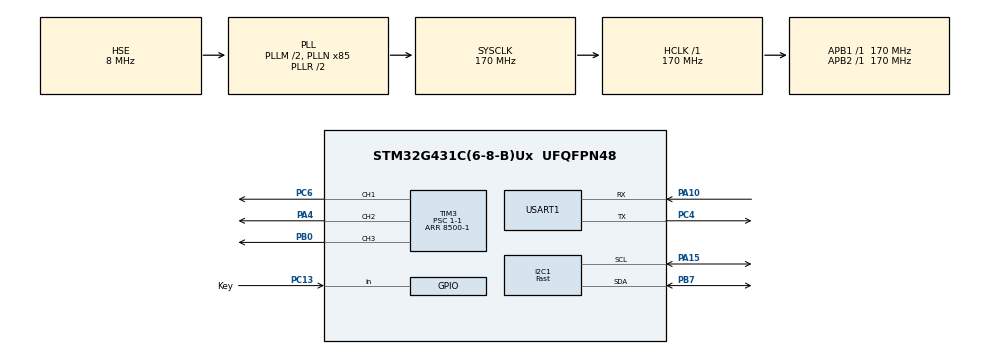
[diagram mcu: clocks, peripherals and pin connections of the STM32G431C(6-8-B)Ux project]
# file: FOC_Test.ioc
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Dma.Request0=USART1_TX
Dma.USART1_TX.0.Direction=DMA_MEMORY_TO_PERIPH
Dma.USART1_TX.0.EventEnable=DISABLE
Dma.USART1_TX.0.Instance=DMA1_Channel1
Dma.USART1_TX.0.MemDataAlignment=DMA_MDATAALIGN_BYTE
Dma.USART1_TX.0.MemInc=DMA_MINC_ENABLE
Dma.USART1_TX.0.Mode=DMA_NORMAL
Dma.USART1_TX.0.PeriphDataAlignment=DMA_PDATAALIGN_BYTE
Dma.USART1_TX.0.PeriphInc=DMA_PINC_DISABLE
Dma.USART1_TX.0.Polarity=HAL_DMAMUX_REQ_GEN_RISING
Dma.USART1_TX.0.Priority=DMA_PRIORITY_LOW
Dma.USART1_TX.0.RequestNumber=1
Dma.USART1_TX.0.SignalID=NONE
Dma.USART1_TX.0.SyncEnable=DISABLE
Dma.USART1_TX.0.SyncPolarity=HAL_DMAMUX_SYNC_NO_EVENT
Dma.USART1_TX.0.SyncRequestNumber=1
Dma.USART1_TX.0.SyncSignalID=NONE
FREERTOS.Queues01=LEDQueue,16,LEDMesg *,0,Dynamic,NULL,NULL;CommandQueue,32,uint8_t,0,Dynamic,NULL,NULL
FREERTOS.Tasks01=defaultTask,24,128,StartDefaultTask,Default,NULL,Dynamic,NULL,NULL;KeyTask,24,128,StartKeyTask,As external,NULL,Dynamic,NULL,NULL;LEDTask,24,128,StartLEDTask,As external,NULL,Dynamic,NULL,NULL;CommandTasks,32,128,CommandStartTask,As external,NULL,Dynamic,NULL,NULL;FOCTask,24,128,FOCStartTask,As external,NULL,Dynamic,NULL,NULL
FREERTOS.configENABLE_FPU=1
FREERTOS.configTOTAL_HEAP_SIZE=4096
I2C1.I2C_Speed_Mode=I2C_Fast
I2C1.Timing=0x40621236
Mcu.Family=STM32G4
Mcu.Name=STM32G431C(6-8-B)Ux
Mcu.Package=UFQFPN48
NVIC.DMA1_Channel1_IRQn=true\:5\:0\:false\:false\:true\:true\:false\:true\:true
NVIC.PriorityGroup=NVIC_PRIORITYGROUP_4
NVIC.TIM1_UP_TIM16_IRQn=true\:15\:0\:false\:false\:true\:false\:false\:true\:true
NVIC.TIM3_IRQn=true\:5\:0\:false\:false\:true\:true\:true\:true\:true
NVIC.TimeBase=TIM1_UP_TIM16_IRQn
NVIC.TimeBaseIP=TIM16
NVIC.USART1_IRQn=true\:5\:0\:false\:false\:true\:true\:true\:true\:true
PA10.Mode=Asynchronous
PA10.Signal=USART1_RX
PA13.Mode=Serial_Wire
PA13.Signal=SYS_JTMS-SWDIO
PA14.Mode=Serial_Wire
PA14.Signal=SYS_JTCK-SWCLK
PA15.Mode=I2C
PA15.Signal=I2C1_SCL
PA4.Signal=S_TIM3_CH2
PB0.Signal=S_TIM3_CH3
PB7.Mode=I2C
PB7.Signal=I2C1_SDA
PC13.GPIO_Label=Key
PC13.GPIO_PuPd=GPIO_PULLDOWN
PC13.Signal=GPIO_Input
PC14-OSC32_IN.Mode=LSE-External-Oscillator
PC14-OSC32_IN.Signal=RCC_OSC32_IN
PC15-OSC32_OUT.Mode=LSE-External-Oscillator
PC15-OSC32_OUT.Signal=RCC_OSC32_OUT
PC4.Mode=Asynchronous
PC4.Signal=USART1_TX
PC6.Signal=S_TIM3_CH1
PF0-OSC_IN.Mode=HSE-External-Oscillator
PF0-OSC_IN.Signal=RCC_OSC_IN
PF1-OSC_OUT.Mode=HSE-External-Oscillator
PF1-OSC_OUT.Signal=RCC_OSC_OUT
ProjectManager.HeapSize=0x200
ProjectManager.StackSize=0x400
ProjectManager.TargetToolchain=CMake
RCC.ADC12Freq_Value=170000000
RCC.AHBFreq_Value=170000000
RCC.APB1Freq_Value=170000000
RCC.APB1TimFreq_Value=170000000
RCC.APB2Freq_Value=170000000
RCC.APB2TimFreq_Value=170000000
RCC.CK48CLockSelection=RCC_USBCLKSOURCE_HSI48
RCC.CortexFreq_Value=170000000
RCC.EXTERNAL_CLOCK_VALUE=12288000
RCC.HCLKFreq_Value=170000000
RCC.HSE_VALUE=8000000
RCC.HSI48_VALUE=48000000
RCC.HSI_VALUE=16000000
RCC.PLLM=RCC_PLLM_DIV2
RCC.PLLN=85
RCC.PLLSourceVirtual=RCC_PLLSOURCE_HSE
RCC.SYSCLKFreq_VALUE=170000000
RCC.SYSCLKSource=RCC_SYSCLKSOURCE_PLLCLK
RCC.USBFreq_Value=48000000
RCC.VCOOutputFreq_Value=340000000
SH.S_TIM3_CH1.0=TIM3_CH1,PWM Generation1 CH1
SH.S_TIM3_CH2.0=TIM3_CH2,PWM Generation2 CH2
SH.S_TIM3_CH3.0=TIM3_CH3,PWM Generation3 CH3
TIM3.AutoReloadPreload=TIM_AUTORELOAD_PRELOAD_ENABLE
TIM3.Channel-PWM\ Generation1\ CH1=TIM_CHANNEL_1
TIM3.Channel-PWM\ Generation2\ CH2=TIM_CHANNEL_2
TIM3.Channel-PWM\ Generation3\ CH3=TIM_CHANNEL_3
TIM3.CounterMode=TIM_COUNTERMODE_UP
TIM3.PeriodNoDither=8500-1
TIM3.Prescaler=1-1
USART1.VirtualMode-Asynchronous=VM_ASYNC
VP_FREERTOS_VS_CMSIS_V2.Mode=CMSIS_V2
VP_SYS_VS_DBSignals.Mode=DisableDeadBatterySignals
VP_SYS_VS_tim16.Mode=TIM16
VP_TIM3_VS_ClockSourceINT.Mode=Internal
board=custom

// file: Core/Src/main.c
/* USER CODE BEGIN Header */
/**
  ******************************************************************************
  * @file           : main.c
  * @brief          : Main program body
  ******************************************************************************
  * @attention
  *
  * Copyright (c) 2025 STMicroelectronics.
  * All rights reserved.
  *
  * This software is licensed under terms that can be found in the LICENSE file
  * in the root directory of this software component.
  * If no LICENSE file comes with this software, it is provided AS-IS.
  *
  ******************************************************************************
  */
/* USER CODE END Header */
#include "main.h"
#include "cmsis_os.h"
#include "dma.h"
#include "i2c.h"
#include "tim.h"
#include "usart.h"
#include "gpio.h"

/* USER CODE BEGIN Includes */
// #include "usbd_cdc_if.h"
#include "AS5600.h"
/* USER CODE END Includes */

void SystemClock_Config(void);
void MX_FREERTOS_Init(void);

/* USER CODE BEGIN 0 */
extern TIM_HandleTypeDef htim3;
extern I2C_HandleTypeDef hi2c1;
/* USER CODE END 0 */

int main(void)
{

  /* MCU Configuration--------------------------------------------------------*/

  /* Reset of all peripherals, Initializes the Flash interface and the Systick. */
  HAL_Init();

  /* Configure the system clock */
  SystemClock_Config();

  /* Initialize all configured peripherals */
  MX_GPIO_Init();
  MX_DMA_Init();
  MX_TIM3_Init();
  MX_USART1_UART_Init();
  MX_I2C1_Init();
  /* USER CODE BEGIN 2 */
  HAL_TIM_PWM_Start(&htim3, TIM_CHANNEL_1);
  HAL_TIM_PWM_Start(&htim3, TIM_CHANNEL_2);
  HAL_TIM_PWM_Start(&htim3, TIM_CHANNEL_3);

  __HAL_TIM_SET_COMPARE(&htim3, TIM_CHANNEL_1,0);
  __HAL_TIM_SET_COMPARE(&htim3, TIM_CHANNEL_2,0);
  __HAL_TIM_SET_COMPARE(&htim3, TIM_CHANNEL_3,0);

  HAL_StatusTypeDef device_status;
  // HAL_I2C_IsDeviceReady 的地址参数需要左移一位 (7-bit address -> 8-bit R/W format)
  device_status = HAL_I2C_IsDeviceReady(&hi2c1, (AS5600_DEVICE_ADDRESS << 1), 2, 100);

  if (device_status == HAL_OK)
  {
    HAL_UART_Transmit_DMA(&huart1,"AS5600 Ready.\r\n",sizeof("AS5600 Ready.\r\n"));
  }
  else
  {
    HAL_UART_Transmit_DMA(&huart1,"AS5600 Not Found.\r\n",sizeof("AS5600 Not Found.\r\n"));
  }
  // HAL_Delay(1);
  while (HAL_UART_GetState(&huart1) == HAL_UART_STATE_BUSY_TX);
  HAL_UART_Transmit_DMA(&huart1,"App Start\r\n",sizeof("App Start\r\n"));

  /* USER CODE END 2 */

  /* Init scheduler */
  osKernelInitialize();  /* Call init function for freertos objects (in cmsis_os2.c) */
  MX_FREERTOS_Init();

  /* Start scheduler */
  osKernelStart();

  /* We should never get here as control is now taken by the scheduler */

  /* Infinite loop */
  while (1)
  {

  }
}

void SystemClock_Config(void)
{
  RCC_OscInitTypeDef RCC_OscInitStruct = {0};
  RCC_ClkInitTypeDef RCC_ClkInitStruct = {0};

  /** Configure the main internal regulator output voltage
  */
  HAL_PWREx_ControlVoltageScaling(PWR_REGULATOR_VOLTAGE_SCALE1_BOOST);

  /** Initializes the RCC Oscillators according to the specified parameters
  * in the RCC_OscInitTypeDef structure.
  */
  RCC_OscInitStruct.OscillatorType = RCC_OSCILLATORTYPE_HSE;
  RCC_OscInitStruct.HSEState = RCC_HSE_ON;
  RCC_OscInitStruct.PLL.PLLState = RCC_PLL_ON;
  RCC_OscInitStruct.PLL.PLLSource = RCC_PLLSOURCE_HSE;
  RCC_OscInitStruct.PLL.PLLM = RCC_PLLM_DIV2;
  RCC_OscInitStruct.PLL.PLLN = 85;
  RCC_OscInitStruct.PLL.PLLP = RCC_PLLP_DIV2;
  RCC_OscInitStruct.PLL.PLLQ = RCC_PLLQ_DIV2;
  RCC_OscInitStruct.PLL.PLLR = RCC_PLLR_DIV2;
  if (HAL_RCC_OscConfig(&RCC_OscInitStruct) != HAL_OK)
  {
    Error_Handler();
  }

  /** Initializes the CPU, AHB and APB buses clocks
  */
  RCC_ClkInitStruct.ClockType = RCC_CLOCKTYPE_HCLK|RCC_CLOCKTYPE_SYSCLK
                              |RCC_CLOCKTYPE_PCLK1|RCC_CLOCKTYPE_PCLK2;
  RCC_ClkInitStruct.SYSCLKSource = RCC_SYSCLKSOURCE_PLLCLK;
  RCC_ClkInitStruct.AHBCLKDivider = RCC_SYSCLK_DIV1;
  RCC_ClkInitStruct.APB1CLKDivider = RCC_HCLK_DIV1;
  RCC_ClkInitStruct.APB2CLKDivider = RCC_HCLK_DIV1;

  if (HAL_RCC_ClockConfig(&RCC_ClkInitStruct, FLASH_LATENCY_4) != HAL_OK)
  {
    Error_Handler();
  }
}

void HAL_TIM_PeriodElapsedCallback(TIM_HandleTypeDef *htim)
{
  if (htim->Instance == TIM16)
  {
    HAL_IncTick();
  }
}

void Error_Handler(void)
{
  __disable_irq();
  while (1)
  {
  }
}

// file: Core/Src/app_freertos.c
/* USER CODE BEGIN Header */
/**
  ******************************************************************************
  * File Name          : app_freertos.c
  * Description        : Code for freertos applications
  ******************************************************************************
  * @attention
  *
  * Copyright (c) 2025 STMicroelectronics.
  * All rights reserved.
  *
  * This software is licensed under terms that can be found in the LICENSE file
  * in the root directory of this software component.
  * If no LICENSE file comes with this software, it is provided AS-IS.
  *
  ******************************************************************************
  */
/* USER CODE END Header */

#include "FreeRTOS.h"
#include "task.h"
#include "main.h"
#include "cmsis_os.h"

/* USER CODE BEGIN Includes */
#include "stdlib.h"
#include "stdio.h"
#include "usart.h"
#include "AS5600.h"
#include "foc.h"
#include "Types/LEDTypes.h"
/* USER CODE END Includes */

/* USER CODE BEGIN Variables */
extern TIM_HandleTypeDef htim3;
extern UART_HandleTypeDef huart1;

/* USER CODE END Variables */
/* Definitions for defaultTask */
osThreadId_t defaultTaskHandle;
const osThreadAttr_t defaultTask_attributes = {
  .name = "defaultTask",
  .priority = (osPriority_t) osPriorityNormal,
  .stack_size = 128 * 4
};
/* Definitions for KeyTask */
osThreadId_t KeyTaskHandle;
const osThreadAttr_t KeyTask_attributes = {
  .name = "KeyTask",
  .priority = (osPriority_t) osPriorityNormal,
  .stack_size = 128 * 4
};
/* Definitions for LEDTask */
osThreadId_t LEDTaskHandle;
const osThreadAttr_t LEDTask_attributes = {
  .name = "LEDTask",
  .priority = (osPriority_t) osPriorityNormal,
  .stack_size = 128 * 4
};
/* Definitions for CommandTasks */
osThreadId_t CommandTasksHandle;
const osThreadAttr_t CommandTasks_attributes = {
  .name = "CommandTasks",
  .priority = (osPriority_t) osPriorityAboveNormal,
  .stack_size = 128 * 4
};
/* Definitions for FOCTask */
osThreadId_t FOCTaskHandle;
const osThreadAttr_t FOCTask_attributes = {
  .name = "FOCTask",
  .priority = (osPriority_t) osPriorityNormal,
  .stack_size = 128 * 4
};
/* Definitions for LEDQueue */
osMessageQueueId_t LEDQueueHandle;
const osMessageQueueAttr_t LEDQueue_attributes = {
  .name = "LEDQueue"
};
/* Definitions for CommandQueue */
osMessageQueueId_t CommandQueueHandle;
const osMessageQueueAttr_t CommandQueue_attributes = {
  .name = "CommandQueue"
};

/* USER CODE BEGIN FunctionPrototypes */
void vTestTask(void *pvParameters);
/* USER CODE END FunctionPrototypes */

void StartDefaultTask(void *argument);
extern void StartKeyTask(void *argument);
extern void StartLEDTask(void *argument);
extern void CommandStartTask(void *argument);
extern void FOCStartTask(void *argument);

void MX_FREERTOS_Init(void); /* (MISRA C 2004 rule 8.1) */

void MX_FREERTOS_Init(void) {

  /* Create the queue(s) */
  /* creation of LEDQueue */
  LEDQueueHandle = osMessageQueueNew (16, sizeof(LEDMesg *), &LEDQueue_attributes);

  /* creation of CommandQueue */
  CommandQueueHandle = osMessageQueueNew (32, sizeof(uint8_t), &CommandQueue_attributes);

  /* Create the thread(s) */
  /* creation of defaultTask */
  defaultTaskHandle = osThreadNew(StartDefaultTask, NULL, &defaultTask_attributes);

  /* creation of KeyTask */
  KeyTaskHandle = osThreadNew(StartKeyTask, NULL, &KeyTask_attributes);

  /* creation of LEDTask */
  LEDTaskHandle = osThreadNew(StartLEDTask, NULL, &LEDTask_attributes);

  /* creation of CommandTasks */
  CommandTasksHandle = osThreadNew(CommandStartTask, NULL, &CommandTasks_attributes);

  /* creation of FOCTask */
  // FOCTaskHandle = osThreadNew(FOCStartTask, NULL, &FOCTask_attributes);

}

void StartDefaultTask(void *argument)
{
  /* USER CODE BEGIN StartDefaultTask */
  /* Infinite loop */
  for(;;)
  {
      osDelay(1000);
  }
  /* USER CODE END StartDefaultTask */
}
